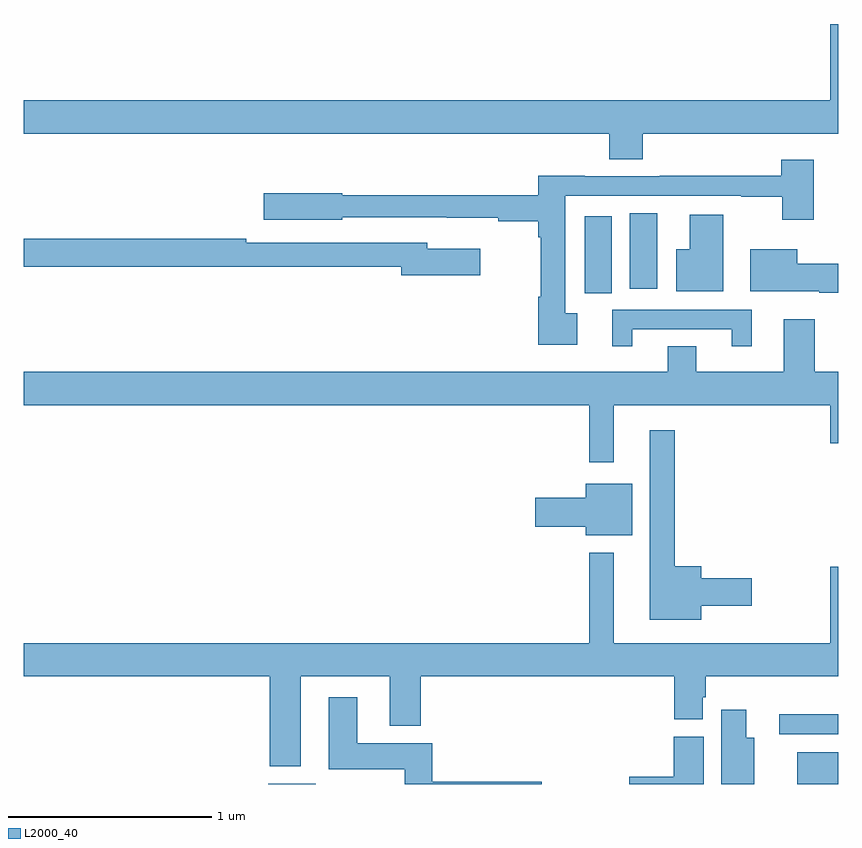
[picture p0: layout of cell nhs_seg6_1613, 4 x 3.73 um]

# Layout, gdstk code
import gdstk
lib = gdstk.Library(unit=1e-6, precision=1e-09)
def R(c, l, rs):  # rectangles x0, y0, x1, y1
    for r in rs: c.add(gdstk.rectangle(r[:2], r[2:], *l))
def P(c, l, *ps):  # polygons
    for p in ps: c.add(gdstk.Polygon(p, *l))
L2000_40 = (2000, 40)

nhs_seg6_1613 = lib.new_cell('nhs_seg6_1613')
R(nhs_seg6_1613, L2000_40, [(210.2,921.5,210.433,921.502), (212.798,921.5,213,921.655), (212.709,921.744,213,921.842), (211.754,923.91,211.888,924.286), (211.976,923.931,212.11,924.302)])
P(nhs_seg6_1613, L2000_40, [(212.039,924.692),(213,924.692),(213,925.231),(212.96,925.231),(212.96,924.856),(209,924.856),(209,924.692),(211.874,924.692),(211.874,924.568),(212.039,924.568)],
  [(211.717,923.81),(211.66,923.81),(211.66,924.387),(212.524,924.387),(212.524,924.382),(212.725,924.382),(212.725,924.27),(212.88,924.27),(212.88,924.565),(212.72,924.565),(212.72,924.485),(212.122,924.485),(212.122,924.483),(211.756,924.483),(211.756,924.485),(211.526,924.485),(211.526,924.391),(210.564,924.391),(210.564,924.399),(210.18,924.399),(210.18,924.269),(210.564,924.269),(210.564,924.282),(211.078,924.282),(211.078,924.281),(211.33,924.281),(211.33,924.262),(211.526,924.262),(211.526,924.185),(211.538,924.185),(211.538,923.893),(211.526,923.893),(211.526,923.657),(211.717,923.657)],
  [(212.434,924.295),(212.27,924.295),(212.27,924.124),(212.204,924.124),(212.204,923.918),(212.434,923.918)],
  [(211.243,924.127),(210.982,924.127),(210.982,924.156),(210.092,924.156),(210.092,924.176),(209,924.176),(209,924.04),(210.854,924.04),(210.854,923.998),(211.243,923.998)],
  [(213,924.053),(212.797,924.053),(212.797,924.124),(212.567,924.124),(212.567,923.918),(212.906,923.918),(212.906,923.911),(213,923.911)],
  [(211.987,923.733),(212.477,923.733),(212.477,923.649),(212.575,923.649),(212.575,923.829),(211.889,923.829),(211.889,923.649),(211.987,923.649)],
  [(211.897,923.36),(212.96,923.36),(212.96,923.172),(213,923.172),(213,923.524),(212.885,923.524),(212.885,923.782),(212.732,923.782),(212.732,923.524),(212.302,923.524),(212.302,923.648),(212.162,923.648),(212.162,923.524),(209,923.524),(209,923.36),(211.776,923.36),(211.776,923.079),(211.897,923.079)],
  [(212.326,922.376),(212.575,922.376),(212.575,922.511),(212.326,922.511),(212.326,922.57),(212.197,922.57),(212.197,923.236),(212.075,923.236),(212.075,922.307),(212.326,922.307)],
  [(211.987,922.975),(211.76,922.975),(211.76,922.905),(211.512,922.905),(211.512,922.763),(211.76,922.763),(211.76,922.721),(211.987,922.721)],
  [(210.361,922.028),(210.797,922.028),(210.797,921.785),(210.95,921.785),(210.95,922.028),(212.195,922.028),(212.195,921.817),(212.335,921.817),(212.335,921.927),(212.348,921.927),(212.348,922.028),(213,922.028),(213,922.567),(212.96,922.567),(212.96,922.192),(211.897,922.192),(211.897,922.636),(211.776,922.636),(211.776,922.192),(209,922.192),(209,922.028),(210.209,922.028),(210.209,921.587),(210.361,921.587)],
  [(211.544,921.512),(211.007,921.512),(211.007,921.7),(210.637,921.7),(210.637,921.925),(210.497,921.925),(210.497,921.572),(210.872,921.572),(210.872,921.5),(211.544,921.5)],
  [(212.587,921.727),(212.548,921.727),(212.548,921.865),(212.426,921.865),(212.426,921.5),(212.587,921.5)],
  [(212.338,921.732),(212.192,921.732),(212.192,921.536),(211.974,921.536),(211.974,921.5),(212.338,921.5)])

lib.write_gds('nhs_seg6_1613.gds')
